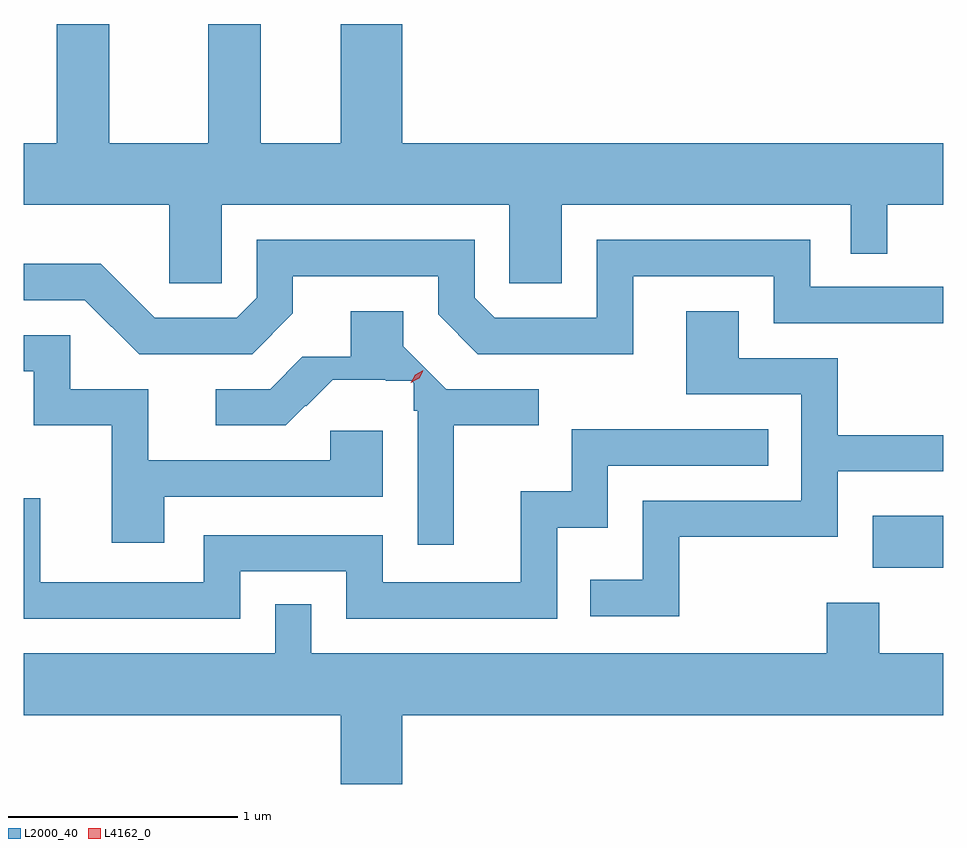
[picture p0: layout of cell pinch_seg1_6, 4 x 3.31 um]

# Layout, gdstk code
import gdstk
lib = gdstk.Library(unit=1e-6, precision=1e-09)
def R(c, l, rs):  # rectangles x0, y0, x1, y1
    for r in rs: c.add(gdstk.rectangle(r[:2], r[2:], *l))
def P(c, l, *ps):  # polygons
    for p in ps: c.add(gdstk.Polygon(p, *l))
L2000_40 = (2000, 40)
L4162_0 = (4162, 0)

pinch_seg1_6 = lib.new_cell('pinch_seg1_6')
R(pinch_seg1_6, L2000_40, [(1875.731,846.936,1876.038,847.164)])
P(pinch_seg1_6, L2000_40, [(1872.409,849.303),(1872.181,849.303),(1872.181,848.784),(1872.038,848.784),(1872.038,848.516),(1872.671,848.516),(1872.671,848.176),(1872.899,848.176),(1872.899,848.516),(1874.151,848.516),(1874.151,848.176),(1874.379,848.176),(1874.379,848.516),(1875.636,848.516),(1875.636,848.303),(1875.794,848.303),(1875.794,848.516),(1876.038,848.516),(1876.038,848.784),(1873.684,848.784),(1873.684,849.303),(1873.416,849.303),(1873.416,848.784),(1873.069,848.784),(1873.069,849.303),(1872.841,849.303),(1872.841,848.784),(1872.409,848.784)],
  [(1873.209,848.044),(1873.209,848.206),(1873.841,848.206),(1873.841,848.039),(1874.014,847.866),(1874.689,847.866),(1874.689,848.206),(1875.301,848.206),(1875.301,848.001),(1876.038,848.001),(1876.038,848.159),(1875.459,848.159),(1875.459,848.364),(1874.531,848.364),(1874.531,848.024),(1874.087,848.024),(1873.999,848.112),(1873.999,848.364),(1873.051,848.364),(1873.051,848.112),(1872.964,848.024),(1872.607,848.024),(1872.372,848.259),(1872.038,848.259),(1872.038,848.101),(1872.304,848.101),(1872.539,847.866),(1873.032,847.866)],
  [(1874.889,847.071),(1875.579,847.071),(1875.579,847.356),(1876.038,847.356),(1876.038,847.514),(1875.579,847.514),(1875.579,847.849),(1875.149,847.849),(1875.149,848.054),(1874.921,848.054),(1874.921,847.691),(1875.421,847.691),(1875.421,847.229),(1874.731,847.229),(1874.731,846.884),(1874.503,846.884),(1874.503,846.726),(1874.889,846.726)],
  [(1873.909,847.556),(1874.278,847.556),(1874.278,847.714),(1873.875,847.714),(1873.689,847.9),(1873.689,848.054),(1873.461,848.054),(1873.461,847.855),(1873.25,847.855),(1873.109,847.714),(1872.873,847.714),(1872.873,847.556),(1873.177,847.556),(1873.263,847.642),(1873.266,847.639),(1873.382,847.755),(1873.612,847.755),(1873.612,847.75),(1873.726,847.75),(1873.735,847.74),(1873.735,847.62),(1873.751,847.62),(1873.751,847.038),(1873.909,847.038)],
  [(1872.649,847.246),(1873.599,847.246),(1873.599,847.534),(1873.371,847.534),(1873.371,847.404),(1872.579,847.404),(1872.579,847.714),(1872.239,847.714),(1872.239,847.949),(1872.038,847.949),(1872.038,847.791),(1872.081,847.791),(1872.081,847.556),(1872.421,847.556),(1872.421,847.046),(1872.649,847.046)],
  [(1872.979,846.921),(1873.441,846.921),(1873.441,846.716),(1874.359,846.716),(1874.359,847.111),(1874.579,847.111),(1874.579,847.381),(1875.278,847.381),(1875.278,847.539),(1874.421,847.539),(1874.421,847.269),(1874.201,847.269),(1874.201,846.874),(1873.599,846.874),(1873.599,847.079),(1872.821,847.079),(1872.821,846.874),(1872.109,846.874),(1872.109,847.239),(1872.038,847.239),(1872.038,846.716),(1872.979,846.716)],
  [(1873.684,846.296),(1876.038,846.296),(1876.038,846.564),(1875.759,846.564),(1875.759,846.784),(1875.531,846.784),(1875.531,846.564),(1873.289,846.564),(1873.289,846.778),(1873.131,846.778),(1873.131,846.564),(1872.038,846.564),(1872.038,846.296),(1873.416,846.296),(1873.416,845.996),(1873.684,845.996)])
P(pinch_seg1_6, L4162_0, [(1873.722,847.742),(1873.722,847.742),(1873.742,847.776),(1873.775,847.797),(1873.776,847.797),(1873.776,847.797),(1873.756,847.763),(1873.723,847.742)],
  [(1873.728,847.746),(1873.728,847.747),(1873.743,847.775),(1873.772,847.791),(1873.773,847.791),(1873.773,847.79),(1873.758,847.762),(1873.729,847.746)])

lib.write_gds('pinch_seg1_6.gds')
